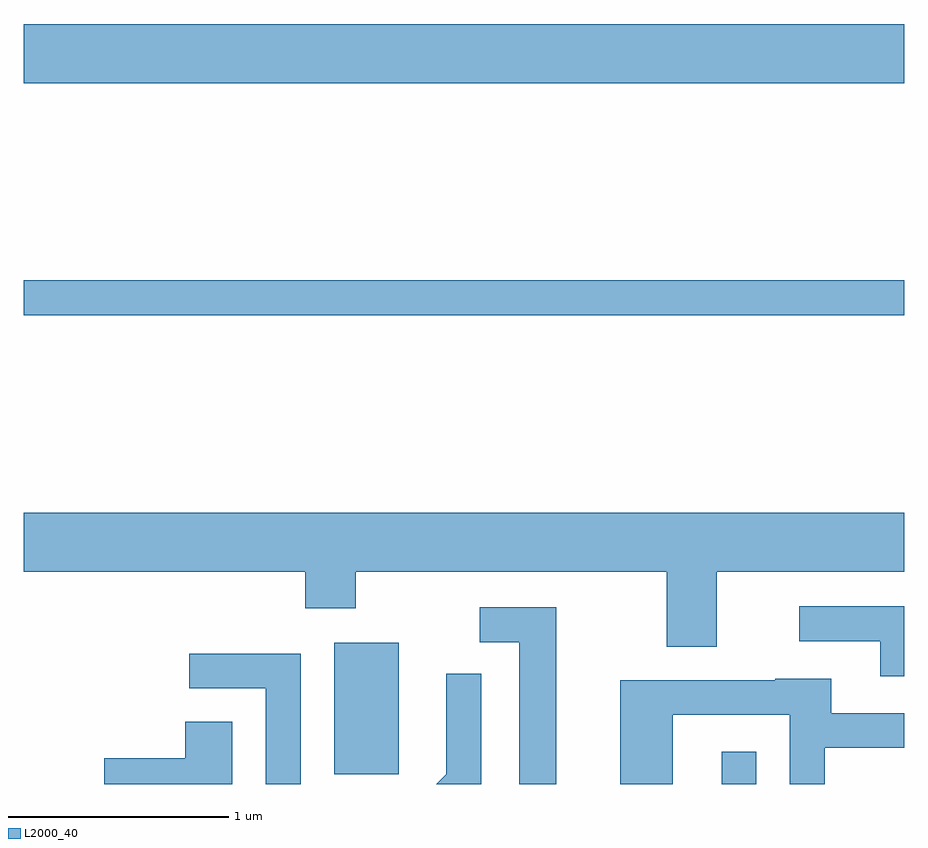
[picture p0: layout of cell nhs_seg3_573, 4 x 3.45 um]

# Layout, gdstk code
import gdstk
lib = gdstk.Library(unit=1e-6, precision=1e-09)
def R(c, l, rs):  # rectangles x0, y0, x1, y1
    for r in rs: c.add(gdstk.rectangle(r[:2], r[2:], *l))
def P(c, l, *ps):  # polygons
    for p in ps: c.add(gdstk.Polygon(p, *l))
L2000_40 = (2000, 40)

nhs_seg3_573 = lib.new_cell('nhs_seg3_573')
R(nhs_seg3_573, L2000_40, [(204.781,1173.892,204.939,1174.038), (203.021,1173.936,203.314,1174.534), (201.611,1176.021,205.611,1176.179), (201.611,1177.076,205.611,1177.344)])
P(nhs_seg3_573, L2000_40, [(204.759,1174.856),(205.611,1174.856),(205.611,1175.124),(201.611,1175.124),(201.611,1174.856),(202.891,1174.856),(202.891,1174.691),(203.119,1174.691),(203.119,1174.856),(204.531,1174.856),(204.531,1174.516),(204.759,1174.516)],
  [(205.611,1174.699),(205.133,1174.699),(205.133,1174.541),(205.501,1174.541),(205.501,1174.381),(205.611,1174.381)],
  [(204.029,1174.694),(203.683,1174.694),(203.683,1174.536),(203.861,1174.536),(203.861,1173.892),(204.029,1173.892)],
  [(202.869,1174.484),(202.363,1174.484),(202.363,1174.326),(202.711,1174.326),(202.711,1173.892),(202.869,1173.892)],
  [(203.689,1174.393),(203.531,1174.393),(203.531,1173.937),(203.486,1173.892),(203.689,1173.892)],
  [(204.559,1174.206),(205.091,1174.206),(205.091,1173.892),(205.249,1173.892),(205.249,1174.056),(205.611,1174.056),(205.611,1174.214),(205.279,1174.214),(205.279,1174.369),(205.025,1174.369),(205.025,1174.364),(204.321,1174.364),(204.321,1173.892),(204.559,1173.892)],
  [(202.559,1174.174),(202.346,1174.174),(202.346,1174.009),(201.976,1174.009),(201.976,1173.892),(202.559,1173.892)])

lib.write_gds('nhs_seg3_573.gds')
